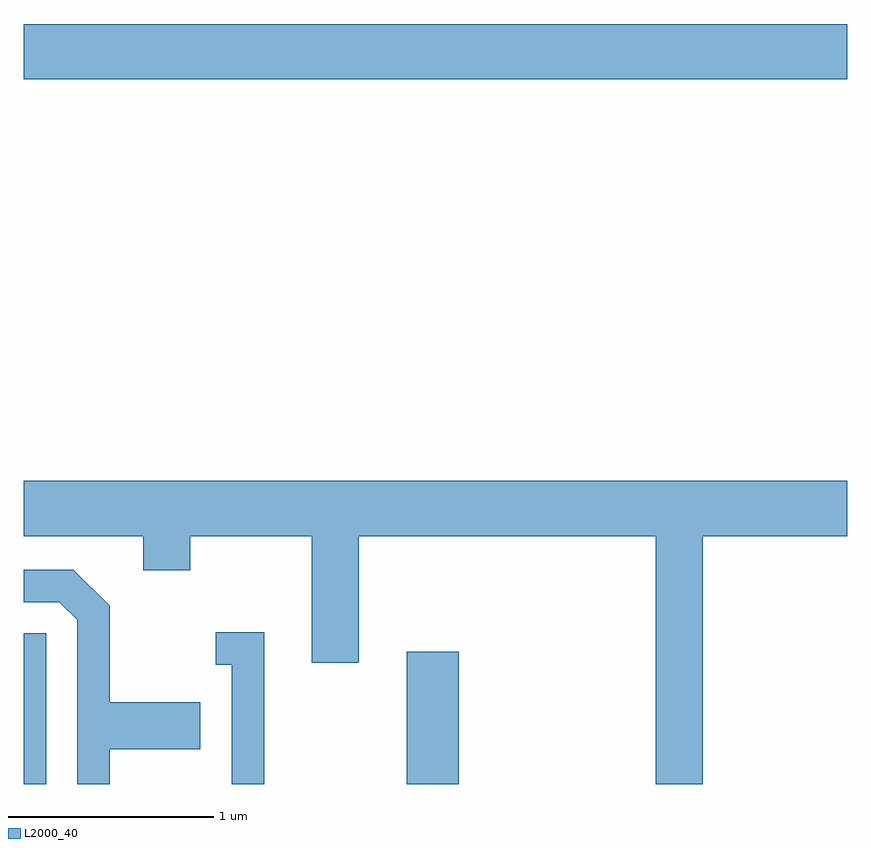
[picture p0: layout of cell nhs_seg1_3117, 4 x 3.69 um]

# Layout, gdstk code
import gdstk
lib = gdstk.Library(unit=1e-6, precision=1e-09)
def R(c, l, rs):  # rectangles x0, y0, x1, y1
    for r in rs: c.add(gdstk.rectangle(r[:2], r[2:], *l))
def P(c, l, *ps):  # polygons
    for p in ps: c.add(gdstk.Polygon(p, *l))
L2000_40 = (2000, 40)

nhs_seg1_3117 = lib.new_cell('nhs_seg1_3117')
R(nhs_seg1_3117, L2000_40, [(279.611,891.712,279.719,892.444), (281.471,891.712,281.724,892.354), (279.611,895.136,283.611,895.404)])
P(nhs_seg1_3117, L2000_40, [(282.909,892.916),(283.611,892.916),(283.611,893.184),(279.611,893.184),(279.611,892.916),(280.191,892.916),(280.191,892.751),(280.419,892.751),(280.419,892.916),(281.011,892.916),(281.011,892.301),(281.239,892.301),(281.239,892.916),(282.681,892.916),(282.681,891.712),(282.909,891.712)],
  [(280.029,891.881),(280.469,891.881),(280.469,892.109),(280.029,892.109),(280.029,892.577),(279.852,892.754),(279.611,892.754),(279.611,892.596),(279.784,892.596),(279.871,892.509),(279.871,891.712),(280.029,891.712)],
  [(280.779,892.449),(280.543,892.449),(280.543,892.291),(280.621,892.291),(280.621,891.712),(280.779,891.712)])

lib.write_gds('nhs_seg1_3117.gds')
